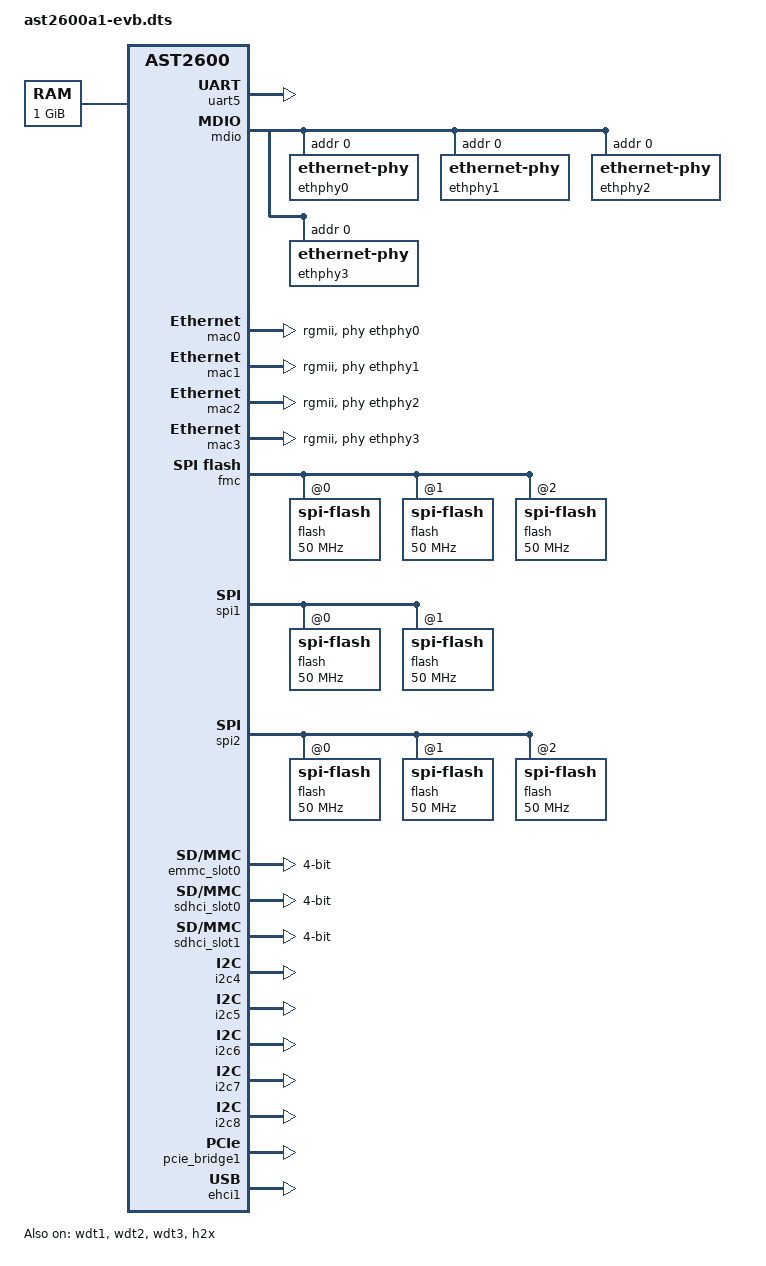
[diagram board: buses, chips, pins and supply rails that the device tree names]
/dts-v1/;

#include "ast2600-u-boot.dtsi"

/ {
	memory {
		device_type = "memory";
		reg = <0x80000000 0x40000000>;
	};

	chosen {
		stdout-path = &uart5;
	};

	aliases {
		mmc0 = &emmc_slot0;
		mmc1 = &sdhci_slot0;
		mmc2 = &sdhci_slot1;
		spi0 = &fmc;
		spi1 = &spi1;
		spi2 = &spi2;
		ethernet0 = &mac0;
		ethernet1 = &mac1;
		ethernet2 = &mac2;
		ethernet3 = &mac3;
	};

	cpus {
		cpu@0 {
			clock-frequency = <800000000>;
		};
		cpu@1 {
			clock-frequency = <800000000>;
		};
	};
};

&uart5 {
	u-boot,dm-pre-reloc;
	status = "okay";
};

&sdrammc {
	clock-frequency = <400000000>;
};

&wdt1 {
	u-boot,dm-pre-reloc;
	status = "okay";
};

&wdt2 {
	u-boot,dm-pre-reloc;
	status = "okay";
};

&wdt3 {
	u-boot,dm-pre-reloc;
	status = "okay";
};

&mdio {
	status = "okay";
	pinctrl-names = "default";
	pinctrl-0 = <	&pinctrl_mdio1_default &pinctrl_mdio2_default
			&pinctrl_mdio3_default &pinctrl_mdio4_default>;
	#address-cells = <1>;
	#size-cells = <0>;
	ethphy0: ethernet-phy@0 {
		reg = <0>;
	};

	ethphy1: ethernet-phy@1 {
		reg = <0>;
	};

	ethphy2: ethernet-phy@2 {
		reg = <0>;
	};

	ethphy3: ethernet-phy@3 {
		reg = <0>;
	};
};

&mac0 {
	status = "okay";
	phy-mode = "rgmii";
	phy-handle = <&ethphy0>;
	pinctrl-names = "default";
	pinctrl-0 = <&pinctrl_rgmii1_default &pinctrl_mac1link_default>;
};

&mac1 {
	status = "okay";
	phy-mode = "rgmii";
	phy-handle = <&ethphy1>;
	pinctrl-names = "default";
	pinctrl-0 = <&pinctrl_rgmii2_default &pinctrl_mac2link_default>;
};

&mac2 {
	status = "okay";
	phy-mode = "rgmii";
	phy-handle = <&ethphy2>;
	pinctrl-names = "default";
	pinctrl-0 = <&pinctrl_rgmii3_default &pinctrl_mac3link_default>;	
};

&mac3 {
	status = "okay";
	phy-mode = "rgmii";
	phy-handle = <&ethphy3>;
	pinctrl-names = "default";
	pinctrl-0 = <&pinctrl_rgmii4_default &pinctrl_mac4link_default>;	
};

&fmc {
	status = "okay";

	pinctrl-names = "default";
	pinctrl-0 = <&pinctrl_fmcquad_default>;

	flash@0 {
		compatible = "spi-flash", "sst,w25q256";
		status = "okay";
		spi-max-frequency = <50000000>;
		spi-tx-bus-width = <4>;
		spi-rx-bus-width = <4>;
	};

	flash@1 {
		compatible = "spi-flash", "sst,w25q256";
		status = "okay";
		spi-max-frequency = <50000000>;
		spi-tx-bus-width = <4>;
		spi-rx-bus-width = <4>;
	};

	flash@2 {
		compatible = "spi-flash", "sst,w25q256";
		status = "okay";
		spi-max-frequency = <50000000>;
		spi-tx-bus-width = <4>;
		spi-rx-bus-width = <4>;
	};
};

&spi1 {
	status = "okay";

	pinctrl-names = "default";
	pinctrl-0 = <&pinctrl_spi1_default &pinctrl_spi1abr_default
			&pinctrl_spi1cs1_default &pinctrl_spi1wp_default
			&pinctrl_spi1wp_default &pinctrl_spi1quad_default>;

	flash@0 {
		compatible = "spi-flash", "sst,w25q256";
		status = "okay";
		spi-max-frequency = <50000000>;
		spi-tx-bus-width = <4>;
		spi-rx-bus-width = <4>;
	};

	flash@1 {
		compatible = "spi-flash", "sst,w25q256";
		status = "okay";
		spi-max-frequency = <50000000>;
		spi-tx-bus-width = <4>;
		spi-rx-bus-width = <4>;
	};
};

&spi2 {
	status = "okay";

	pinctrl-names = "default";
	pinctrl-0 = <&pinctrl_spi2_default &pinctrl_spi2cs1_default
			&pinctrl_spi2cs2_default &pinctrl_spi2quad_default>;

	flash@0 {
		compatible = "spi-flash", "sst,w25q256";
		status = "okay";
		spi-max-frequency = <50000000>;
		spi-tx-bus-width = <4>;
		spi-rx-bus-width = <4>;
	};

	flash@1 {
		compatible = "spi-flash", "sst,w25q256";
		status = "okay";
		spi-max-frequency = <50000000>;
		spi-tx-bus-width = <4>;
		spi-rx-bus-width = <4>;
	};

	flash@2 {
		compatible = "spi-flash", "sst,w25q256";
		status = "okay";
		spi-max-frequency = <50000000>;
		spi-tx-bus-width = <4>;
		spi-rx-bus-width = <4>;
	};
};

&emmc_slot0 {
	status = "okay";
	bus-width = <4>;
	pinctrl-names = "default";
	pinctrl-0 = <&pinctrl_emmc_default>;
};

&sdhci_slot0 {
	status = "okay";
	bus-width = <4>;
	pwr-gpios = <&gpio0 ASPEED_GPIO(V, 0) GPIO_ACTIVE_HIGH>;
	pwr-sw-gpios = <&gpio0 ASPEED_GPIO(V, 1) GPIO_ACTIVE_HIGH>;
	pinctrl-names = "default";
	pinctrl-0 = <&pinctrl_sd1_default>;
};

&sdhci_slot1 {
	status = "okay";
	bus-width = <4>;
	pwr-gpios = <&gpio0 ASPEED_GPIO(V, 2) GPIO_ACTIVE_HIGH>;
	pwr-sw-gpios = <&gpio0 ASPEED_GPIO(V, 3) GPIO_ACTIVE_HIGH>;
	pinctrl-names = "default";
	pinctrl-0 = <&pinctrl_sd2_default>;
};

&i2c4 {
	status = "okay";

	pinctrl-names = "default";
	pinctrl-0 = <&pinctrl_i2c5_default>;
};

&i2c5 {
	status = "okay";

	pinctrl-names = "default";
	pinctrl-0 = <&pinctrl_i2c6_default>;
};

&i2c6 {
	status = "okay";

	pinctrl-names = "default";
	pinctrl-0 = <&pinctrl_i2c7_default>;
};

&i2c7 {
	status = "okay";

	pinctrl-names = "default";
	pinctrl-0 = <&pinctrl_i2c8_default>;
};

&i2c8 {
	status = "okay";

	pinctrl-names = "default";
	pinctrl-0 = <&pinctrl_i2c9_default>;
};

&pcie_bridge1 {
	status = "okay";
};

&h2x {
	status = "okay";
};

#if 0
&fsim0 {
	status = "okay";
};

&fsim1 {
	status = "okay";
};
#endif

&ehci1 {
	status = "okay";
};
